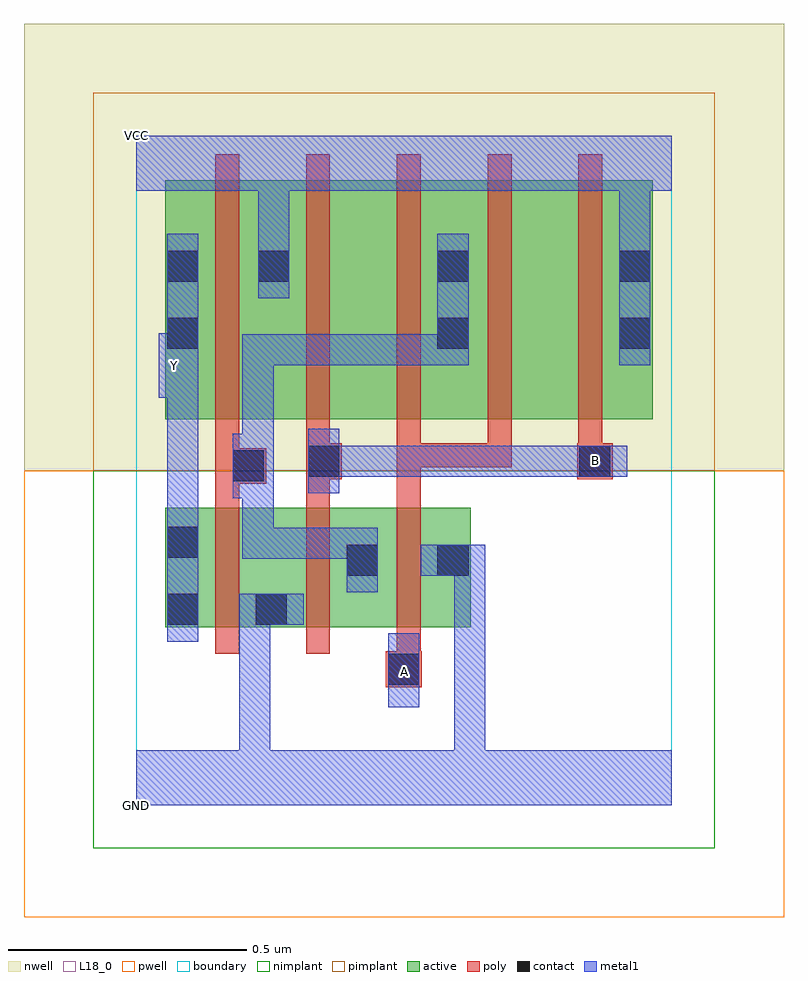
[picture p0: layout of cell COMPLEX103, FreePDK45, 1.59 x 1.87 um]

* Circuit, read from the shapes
.subckt COMPLEX103 A B GND VCC Y
M1 GND n1 Y VSUBS nfet w=0.25u l=0.05u
M2 n1 B GND VSUBS nfet w=0.25u l=0.05u
M3 GND A n1 VSUBS nfet w=0.25u l=0.05u
M4 VCC n1 Y n2 pfet w=0.5u l=0.05u
M5 n3 B VCC n2 pfet w=0.5u l=0.05u
M6 n1 A n3 n2 pfet w=0.5u l=0.05u
M7 n4 A n1 n2 pfet w=0.5u l=0.05u
M8 VCC B n4 n2 pfet w=0.5u l=0.05u
.ends

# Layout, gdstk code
import gdstk
lib = gdstk.Library(unit=1e-6, precision=1e-09)
def R(c, l, rs):  # rectangles x0, y0, x1, y1
    for r in rs: c.add(gdstk.rectangle(r[:2], r[2:], *l))
def A(c, l, x, y, w, h, nx, ny, dx, dy):  # array of equal rectangles
    R(c, l, [(x+i*dx, y+j*dy, x+i*dx+w, y+j*dy+h) for i in range(nx) for j in range(ny)])
active = (1, 0)
pwell = (2, 0)
nwell = (3, 0)
nimplant = (4, 0)
pimplant = (5, 0)
poly = (9, 0)
contact = (10, 0)
metal1 = (11, 0)
L18_0 = (18, 0)
boundary = (235, 0)

complex103 = lib.new_cell('COMPLEX103')
R(complex103, active, [(0.06,0.372,0.32,0.622), (0.06,0.372,0.135,0.622), (0.245,0.372,0.51,0.622), (0.245,0.372,0.32,0.497), (0.435,0.372,0.7,0.622), (0.435,0.395,0.51,0.55), (0.625,0.395,0.7,0.622), (0.06,0.807,0.135,1.2), (0.06,0.807,0.325,1.307), (0.25,0.807,0.325,1.255), (0.25,0.807,0.475,1.307), (0.475,0.807,0.7,1.307), (0.625,0.807,0.855,1.307), (0.625,0.807,0.7,1.2), (0.855,0.807,1.08,1.307), (1.005,0.807,1.08,1.255)])
R(complex103, pwell, [(-0.235,-0.235,1.355,0.7)])
R(complex103, nwell, [(-0.235,0.7,1.355,1.635)])
R(complex103, nimplant, [(-0.09,-0.09,1.21,0.7)])
R(complex103, pimplant, [(-0.09,0.7,1.21,1.49)])
A(complex103, poly, 0.165, 0.317, 0.05, 0.36, 3, 1, 0.19, 0)
A(complex103, poly, 0.355, 0.707, 0.05, 0.095, 4, 1, 0.19, 0)
A(complex103, poly, 0.165, 0.752, 0.05, 0.61, 5, 1, 0.19, 0)
R(complex103, poly, [(0.522,0.247,0.597,0.322), (0.545,0.272,0.595,0.367), (0.165,0.627,0.215,0.722), (0.355,0.627,0.405,0.732), (0.545,0.627,0.595,0.757), (0.165,0.672,0.272,0.747), (0.355,0.682,0.43,0.757), (0.922,0.682,0.997,0.757), (0.165,0.697,0.215,0.802), (0.545,0.707,0.595,0.757), (0.545,0.707,0.785,0.757), (0.735,0.707,0.785,0.757), (0.735,0.707,0.785,0.757), (0.735,0.707,0.785,0.757)])
R(complex103, contact, [(0.527,0.252,0.592,0.317), (0.065,0.377,0.13,0.442), (0.25,0.377,0.315,0.442), (0.44,0.48,0.505,0.545), (0.63,0.48,0.695,0.545), (0.065,0.517,0.13,0.582), (0.202,0.677,0.267,0.742), (0.36,0.687,0.425,0.752), (0.927,0.687,0.992,0.752), (0.065,0.955,0.13,1.02), (0.63,0.955,0.695,1.02), (1.01,0.955,1.075,1.02), (0.065,1.095,0.13,1.16), (0.255,1.095,0.32,1.16), (0.63,1.095,0.695,1.16), (1.01,1.095,1.075,1.16)])
R(complex103, metal1, [(0,0,1.12,0.115), (0.215,0.05,0.28,0.115), (0.215,0.05,0.28,0.115), (0.215,0.05,0.28,0.442), (0.665,0.05,0.73,0.115), (0.665,0.05,0.73,0.115), (0.665,0.05,0.73,0.115), (0.665,0.05,0.73,0.115), (0.665,0.05,0.73,0.545), (0.527,0.205,0.592,0.36), (0.065,0.342,0.13,0.617), (0.215,0.377,0.35,0.442), (0.215,0.377,0.28,0.442), (0.215,0.377,0.28,0.442), (0.215,0.377,0.28,0.442), (0.215,0.377,0.28,0.442), (0.44,0.445,0.505,0.58), (0.595,0.48,0.73,0.545), (0.665,0.48,0.73,0.545), (0.665,0.48,0.73,0.545), (0.222,0.515,0.287,0.58), (0.222,0.515,0.455,0.58), (0.222,0.515,0.287,0.777), (0.39,0.515,0.455,0.58), (0.39,0.515,0.505,0.58), (0.065,0.552,0.13,0.917), (0.202,0.642,0.267,0.777), (0.36,0.652,0.425,0.787), (0.36,0.687,0.455,0.752), (0.39,0.687,0.455,0.752), (0.39,0.687,0.592,0.752), (0.527,0.687,0.592,0.752), (0.527,0.687,0.592,0.752), (0.527,0.687,0.592,0.752), (0.527,0.687,0.82,0.752), (0.755,0.687,0.937,0.752), (0.755,0.687,0.82,0.752), (0.872,0.687,0.957,0.752), (0.872,0.687,0.937,0.752), (0.892,0.687,1.027,0.752), (0.202,0.712,0.287,0.777), (0.222,0.712,0.287,0.777), (0.222,0.712,0.287,0.985), (0.047,0.852,0.13,0.987), (0.065,0.92,0.13,1.195), (0.222,0.92,0.287,0.985), (0.222,0.92,0.455,0.985), (0.39,0.92,0.455,0.985), (0.39,0.92,0.455,0.985), (0.39,0.92,0.455,0.985), (0.39,0.92,0.592,0.985), (0.527,0.92,0.592,0.985), (0.527,0.92,0.695,0.985), (0.63,0.92,0.695,1.195), (1.01,0.92,1.075,1.195), (0.065,0.922,0.13,0.987), (0.255,1.06,0.32,1.195), (0.255,1.13,0.32,1.35), (1.01,1.13,1.075,1.35), (0,1.285,1.12,1.4)])
R(complex103, L18_0, [(0,0,1.12,0.115), (0.215,0.05,0.28,0.115), (0.215,0.05,0.28,0.115), (0.215,0.05,0.28,0.442), (0.665,0.05,0.73,0.115), (0.665,0.05,0.73,0.115), (0.665,0.05,0.73,0.115), (0.665,0.05,0.73,0.115), (0.665,0.05,0.73,0.545), (0.527,0.205,0.592,0.36), (0.527,0.247,0.592,0.312), (0.065,0.342,0.13,0.617), (0.215,0.377,0.28,0.442), (0.215,0.377,0.28,0.442), (0.215,0.377,0.28,0.442), (0.215,0.377,0.28,0.442), (0.215,0.377,0.35,0.442), (0.595,0.48,0.73,0.545), (0.665,0.48,0.73,0.545), (0.665,0.48,0.73,0.545), (0.065,0.552,0.13,0.917), (0.36,0.652,0.425,0.787), (0.36,0.687,0.455,0.752), (0.39,0.687,0.455,0.752), (0.39,0.687,0.592,0.752), (0.527,0.687,0.592,0.752), (0.527,0.687,0.592,0.752), (0.527,0.687,0.592,0.752), (0.527,0.687,0.82,0.752), (0.755,0.687,0.82,0.752), (0.755,0.687,0.937,0.752), (0.872,0.687,0.937,0.752), (0.872,0.687,0.957,0.752), (0.892,0.687,1.027,0.752), (0.927,0.687,0.992,0.752), (0.047,0.852,0.13,0.987), (0.047,0.887,0.112,0.952), (0.065,0.92,0.13,1.195), (1.01,0.92,1.075,1.195), (0.065,0.922,0.13,0.987), (0.255,1.06,0.32,1.195), (0.255,1.13,0.32,1.35), (1.01,1.13,1.075,1.35), (0,1.285,1.12,1.4)])
R(complex103, boundary, [(0,0,1.12,1.4)])
complex103.add(gdstk.Label('A', (0.56,0.28), layer=11, texttype=0))
complex103.add(gdstk.Label('B', (0.96,0.72), layer=11, texttype=0))
complex103.add(gdstk.Label('Y', (0.08,0.92), layer=11, texttype=0))
complex103.add(gdstk.Label('VCC', (0,1.4), layer=11, texttype=0))
complex103.add(gdstk.Label('GND', (0,0), layer=11, texttype=0))

lib.write_gds('COMPLEX103.gds')
